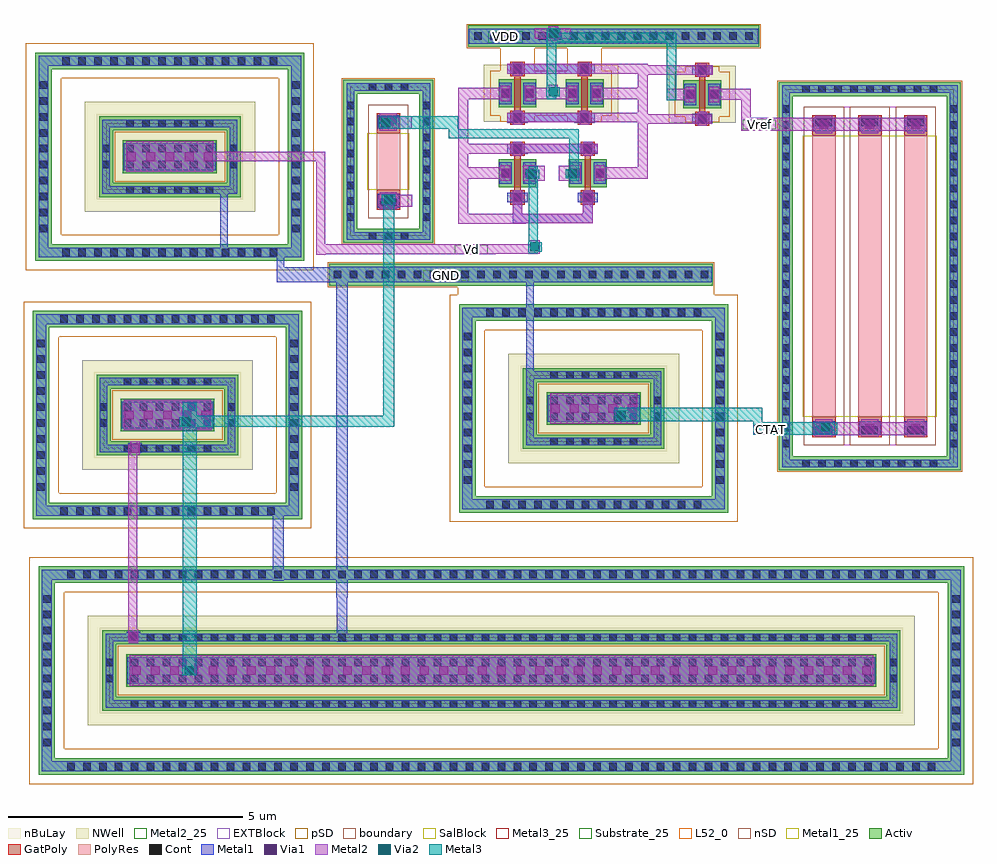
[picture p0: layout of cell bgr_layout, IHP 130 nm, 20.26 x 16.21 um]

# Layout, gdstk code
import gdstk
lib = gdstk.Library(unit=1e-6, precision=1e-09)
def R(c, l, rs):  # rectangles x0, y0, x1, y1
    for r in rs: c.add(gdstk.rectangle(r[:2], r[2:], *l))
def A(c, l, x, y, w, h, nx, ny, dx, dy):  # array of equal rectangles
    R(c, l, [(x+i*dx, y+j*dy, x+i*dx+w, y+j*dy+h) for i in range(nx) for j in range(ny)])
Activ = (1, 0)
GatPoly = (5, 0)
Cont = (6, 0)
nSD = (7, 0)
Metal1 = (8, 0)
Metal1_25 = (8, 25)
Metal2 = (10, 0)
Metal2_25 = (10, 25)
pSD = (14, 0)
Via1 = (19, 0)
SalBlock = (28, 0)
Via2 = (29, 0)
Metal3 = (30, 0)
Metal3_25 = (30, 25)
NWell = (31, 0)
nBuLay = (32, 0)
Substrate_25 = (40, 25)
L52_0 = (52, 0)
EXTBlock = (111, 0)
PolyRes = (128, 0)
boundary = (189, 4)

via_y6za6n = lib.new_cell('via_Y6ZA6N')
R(via_y6za6n, Metal2, [(-0.1,-0.145,0.1,0.145)])
R(via_y6za6n, Via2, [(-0.095,-0.095,0.095,0.095)])
R(via_y6za6n, Metal3, [(-0.145,-0.1,0.145,0.1)])

via_y6z82n = lib.new_cell('via_Y6Z82N')
R(via_y6z82n, Metal1, [(-0.145,-0.105,0.145,0.105)])
R(via_y6z82n, Metal2, [(-0.1,-0.145,0.1,0.145)])
R(via_y6z82n, Via1, [(-0.095,-0.095,0.095,0.095)])

pnpmpa_4j6f6n = lib.new_cell('pnpMPA_4J6F6N')
R(pnpmpa_4j6f6n, Activ, [(-2.87,-2.22,2.87,-1.87), (-2.87,-1.87,-2.52,1.87), (2.52,-1.87,2.87,1.87), (-1.51,-0.86,1.51,-0.56), (-1.51,-0.56,-1.21,0.56), (1.21,-0.56,1.51,0.56), (-1,-0.35,1,0.35), (-1.51,0.56,1.51,0.86), (-2.87,1.87,2.87,2.22)])
A(pnpmpa_4j6f6n, Cont, -2.29, -2.125, 0.16, 0.16, 14, 2, 0.34, 4.09)
A(pnpmpa_4j6f6n, Cont, -2.775, -1.61, 0.16, 0.16, 1, 10, 0, 0.34)
A(pnpmpa_4j6f6n, Cont, 2.615, -1.61, 0.16, 0.16, 1, 10, 0, 0.34)
A(pnpmpa_4j6f6n, Cont, -0.93, -0.79, 0.16, 0.16, 6, 2, 0.34, 0.54)
A(pnpmpa_4j6f6n, Cont, -0.93, 0.09, 0.16, 0.16, 6, 2, 0.34, 0.54)
R(pnpmpa_4j6f6n, Cont, [(-1.44,-0.25,-1.28,-0.09), (1.28,-0.25,1.44,-0.09), (-1.44,0.09,-1.28,0.25), (1.28,0.09,1.44,0.25)])
R(pnpmpa_4j6f6n, Metal1, [(-2.8,-2.15,2.8,-1.94), (-2.8,-1.94,-2.59,1.94), (2.59,-1.94,2.8,1.94), (-1.44,-0.79,1.44,-0.63), (-1.44,-0.63,-1.28,0.63), (1.28,-0.63,1.44,0.63), (-0.98,-0.285,0.98,0.285), (-1.44,0.63,1.44,0.79), (-2.8,1.94,2.8,2.15)])
R(pnpmpa_4j6f6n, Metal2, [(-0.93,-0.325,0.93,0.325)])
R(pnpmpa_4j6f6n, pSD, [(-3.07,-2.42,3.07,-1.67), (-2.9,-2.25,2.9,-1.84), (-2.9,-1.84,-2.49,1.84), (2.49,-1.84,2.9,1.84), (-3.07,-1.67,-2.32,1.67), (2.32,-1.67,3.07,1.67), (-1.18,-0.53,1.18,0.53), (-3.07,1.67,3.07,2.42), (-2.9,1.84,2.9,2.25)])
A(pnpmpa_4j6f6n, Via1, -0.915, -0.095, 0.19, 0.19, 5, 1, 0.41, 0)
R(pnpmpa_4j6f6n, NWell, [(-1.82,-1.17,1.82,1.17)])
R(pnpmpa_4j6f6n, nBuLay, [(-1.56,-0.91,1.56,0.91)])
R(pnpmpa_4j6f6n, boundary, [(-1.36,-0.71,1.36,0.71)])
pnpmpa_4j6f6n.add(gdstk.Label('C', (0,-2.045), layer=8, texttype=25))
pnpmpa_4j6f6n.add(gdstk.Label('B', (0,-0.71), layer=8, texttype=25))
pnpmpa_4j6f6n.add(gdstk.Label('E', (0,0), layer=8, texttype=25))

pnpmpa_ddwec4 = lib.new_cell('pnpMPA_DDWEC4')
R(pnpmpa_ddwec4, Activ, [(-9.87,-2.22,9.87,-1.87), (-9.87,-1.87,-9.52,1.87), (9.52,-1.87,9.87,1.87), (-8.51,-0.86,8.51,-0.56), (-8.51,-0.56,-8.21,0.56), (8.21,-0.56,8.51,0.56), (-8,-0.35,8,0.35), (-8.51,0.56,8.51,0.86), (-9.87,1.87,9.87,2.22)])
A(pnpmpa_ddwec4, Cont, -9.26, -2.125, 0.16, 0.16, 55, 2, 0.34, 4.09)
A(pnpmpa_ddwec4, Cont, -9.775, -1.61, 0.16, 0.16, 1, 10, 0, 0.34)
A(pnpmpa_ddwec4, Cont, 9.615, -1.61, 0.16, 0.16, 1, 10, 0, 0.34)
A(pnpmpa_ddwec4, Cont, -7.9, -0.79, 0.16, 0.16, 47, 2, 0.34, 0.54)
A(pnpmpa_ddwec4, Cont, -7.9, 0.09, 0.16, 0.16, 47, 2, 0.34, 0.54)
R(pnpmpa_ddwec4, Cont, [(-8.44,-0.25,-8.28,-0.09), (8.28,-0.25,8.44,-0.09), (-8.44,0.09,-8.28,0.25), (8.28,0.09,8.44,0.25)])
R(pnpmpa_ddwec4, Metal1, [(-9.8,-2.15,9.8,-1.94), (-9.8,-1.94,-9.59,1.94), (9.59,-1.94,9.8,1.94), (-8.44,-0.79,8.44,-0.63), (-8.44,-0.63,-8.28,0.63), (8.28,-0.63,8.44,0.63), (-7.98,-0.285,7.98,0.285), (-8.44,0.63,8.44,0.79), (-9.8,1.94,9.8,2.15)])
R(pnpmpa_ddwec4, Metal2, [(-7.93,-0.325,7.93,0.325)])
R(pnpmpa_ddwec4, pSD, [(-10.07,-2.42,10.07,-1.67), (-9.9,-2.25,9.9,-1.84), (-9.9,-1.84,-9.49,1.84), (9.49,-1.84,9.9,1.84), (-10.07,-1.67,-9.32,1.67), (9.32,-1.67,10.07,1.67), (-8.18,-0.53,8.18,0.53), (-10.07,1.67,10.07,2.42), (-9.9,1.84,9.9,2.25)])
A(pnpmpa_ddwec4, Via1, -7.885, -0.095, 0.19, 0.19, 39, 1, 0.41, 0)
R(pnpmpa_ddwec4, NWell, [(-8.82,-1.17,8.82,1.17)])
R(pnpmpa_ddwec4, nBuLay, [(-8.56,-0.91,8.56,0.91)])
R(pnpmpa_ddwec4, boundary, [(-8.36,-0.71,8.36,0.71)])
pnpmpa_ddwec4.add(gdstk.Label('C', (0,-2.045), layer=8, texttype=25))
pnpmpa_ddwec4.add(gdstk.Label('B', (0,-0.71), layer=8, texttype=25))
pnpmpa_ddwec4.add(gdstk.Label('E', (0,0), layer=8, texttype=25))

pnpmpa_4j6f6e = lib.new_cell('pnpMPA_4J6F6E')
R(pnpmpa_4j6f6e, Activ, [(-2.87,-2.22,2.87,-1.87), (-2.87,-1.87,-2.52,1.87), (2.52,-1.87,2.87,1.87), (-1.51,-0.86,1.51,-0.56), (-1.51,-0.56,-1.21,0.56), (1.21,-0.56,1.51,0.56), (-1,-0.35,1,0.35), (-1.51,0.56,1.51,0.86), (-2.87,1.87,2.87,2.22)])
A(pnpmpa_4j6f6e, Cont, -2.29, -2.125, 0.16, 0.16, 14, 2, 0.34, 4.09)
A(pnpmpa_4j6f6e, Cont, -2.775, -1.61, 0.16, 0.16, 1, 10, 0, 0.34)
A(pnpmpa_4j6f6e, Cont, 2.615, -1.61, 0.16, 0.16, 1, 10, 0, 0.34)
A(pnpmpa_4j6f6e, Cont, -0.93, -0.79, 0.16, 0.16, 6, 2, 0.34, 0.54)
A(pnpmpa_4j6f6e, Cont, -0.93, 0.09, 0.16, 0.16, 6, 2, 0.34, 0.54)
R(pnpmpa_4j6f6e, Cont, [(-1.44,-0.25,-1.28,-0.09), (1.28,-0.25,1.44,-0.09), (-1.44,0.09,-1.28,0.25), (1.28,0.09,1.44,0.25)])
R(pnpmpa_4j6f6e, Metal1, [(-2.8,-2.15,2.8,-1.94), (-2.8,-1.94,-2.59,1.94), (2.59,-1.94,2.8,1.94), (-1.44,-0.79,1.44,-0.63), (-1.44,-0.63,-1.28,0.63), (1.28,-0.63,1.44,0.63), (-0.98,-0.285,0.98,0.285), (-1.44,0.63,1.44,0.79), (-2.8,1.94,2.8,2.15)])
R(pnpmpa_4j6f6e, Metal2, [(-0.93,-0.325,0.93,0.325)])
R(pnpmpa_4j6f6e, pSD, [(-3.07,-2.42,3.07,-1.67), (-2.9,-2.25,2.9,-1.84), (-2.9,-1.84,-2.49,1.84), (2.49,-1.84,2.9,1.84), (-3.07,-1.67,-2.32,1.67), (2.32,-1.67,3.07,1.67), (-1.18,-0.53,1.18,0.53), (-3.07,1.67,3.07,2.42), (-2.9,1.84,2.9,2.25)])
A(pnpmpa_4j6f6e, Via1, -0.915, -0.095, 0.19, 0.19, 5, 1, 0.41, 0)
R(pnpmpa_4j6f6e, NWell, [(-1.82,-1.17,1.82,1.17)])
R(pnpmpa_4j6f6e, nBuLay, [(-1.56,-0.91,1.56,0.91)])
R(pnpmpa_4j6f6e, boundary, [(-1.36,-0.71,1.36,0.71)])
pnpmpa_4j6f6e.add(gdstk.Label('C', (0,-2.045), layer=8, texttype=25))
pnpmpa_4j6f6e.add(gdstk.Label('B', (0,-0.71), layer=8, texttype=25))
pnpmpa_4j6f6e.add(gdstk.Label('E', (0,0), layer=8, texttype=25))

rhigh_ckkhr5 = lib.new_cell('rhigh_CKKHR5')
R(rhigh_ckkhr5, Activ, [(-0.96,-1.74,0.96,-1.44), (-0.96,-1.44,-0.66,1.44), (0.66,-1.44,0.96,1.44), (-0.96,1.44,0.96,1.74)])
R(rhigh_ckkhr5, GatPoly, [(-0.25,-1.03,0.25,-0.6), (-0.25,0.6,0.25,1.03)])
A(rhigh_ckkhr5, Cont, -0.42, -1.67, 0.16, 0.16, 3, 2, 0.34, 3.18)
A(rhigh_ckkhr5, Cont, -0.89, -1.27, 0.16, 0.16, 1, 8, 0, 0.34)
A(rhigh_ckkhr5, Cont, 0.73, -1.27, 0.16, 0.16, 1, 8, 0, 0.34)
R(rhigh_ckkhr5, Cont, [(-0.18,-0.96,0.18,-0.8), (-0.18,0.8,0.18,0.96)])
R(rhigh_ckkhr5, nSD, [(-0.43,-1.21,0.43,1.21)])
R(rhigh_ckkhr5, Metal1, [(-0.89,-1.67,0.89,-1.51), (-0.89,-1.51,-0.73,1.51), (0.73,-1.51,0.89,1.51), (-0.23,-0.985,0.23,-0.695), (-0.23,0.695,0.23,0.985), (-0.89,1.51,0.89,1.67)])
R(rhigh_ckkhr5, Metal2, [(-0.18,-1.025,0.18,-0.655), (-0.18,0.655,0.18,1.025)])
R(rhigh_ckkhr5, pSD, [(-0.99,-1.77,0.99,1.77)])
R(rhigh_ckkhr5, Via1, [(-0.095,-0.935,0.095,-0.745), (-0.095,0.745,0.095,0.935)])
R(rhigh_ckkhr5, SalBlock, [(-0.45,-0.6,0.45,0.6)])
R(rhigh_ckkhr5, L52_0, [(-0.25,-0.6,0.25,0.6)])
R(rhigh_ckkhr5, EXTBlock, [(-0.43,-1.21,0.43,1.21)])
R(rhigh_ckkhr5, PolyRes, [(-0.25,-0.6,0.25,0.6)])
R(rhigh_ckkhr5, boundary, [(-0.81,-1.59,0.81,1.59)])
rhigh_ckkhr5.add(gdstk.Label('B', (0,-1.59), layer=8, texttype=25))
rhigh_ckkhr5.add(gdstk.Label('R1', (0,0.88), layer=8, texttype=25))
rhigh_ckkhr5.add(gdstk.Label('R2', (0,-0.88), layer=8, texttype=25))

sg13_lv_pmos_pmrch7 = lib.new_cell('sg13_lv_pmos_PMRCH7')
R(sg13_lv_pmos_pmrch7, Activ, [(-0.405,-0.3,0.405,0.3)])
R(sg13_lv_pmos_pmrch7, GatPoly, [(-0.15,-0.67,0.15,-0.37), (-0.065,-0.37,0.065,0.37), (-0.15,0.37,0.15,0.67)])
R(sg13_lv_pmos_pmrch7, Cont, [(-0.08,-0.6,0.08,-0.44), (-0.335,-0.08,-0.175,0.08), (0.175,-0.08,0.335,0.08), (-0.08,0.44,0.08,0.6)])
R(sg13_lv_pmos_pmrch7, Metal1, [(-0.215,-0.625,0.215,-0.415), (-0.385,-0.23,-0.125,0.23), (0.125,-0.23,0.385,0.23), (-0.215,0.415,0.215,0.625)])
R(sg13_lv_pmos_pmrch7, Metal2, [(-0.1,-0.665,0.1,-0.375), (-0.355,-0.165,-0.155,0.165), (0.155,-0.165,0.355,0.165), (-0.1,0.375,0.1,0.665)])
R(sg13_lv_pmos_pmrch7, pSD, [(-0.365,-0.6,0.365,-0.48), (-0.585,-0.48,0.585,0.48), (-0.365,0.48,0.365,0.6)])
R(sg13_lv_pmos_pmrch7, Via1, [(-0.095,-0.615,0.095,-0.425), (-0.35,-0.095,-0.16,0.095), (0.16,-0.095,0.35,0.095), (-0.095,0.425,0.095,0.615)])
R(sg13_lv_pmos_pmrch7, NWell, [(-0.715,-0.61,0.715,0.61)])
sg13_lv_pmos_pmrch7.add(gdstk.Label('D', (-0.255,0), layer=8, texttype=25))
sg13_lv_pmos_pmrch7.add(gdstk.Label('S', (0.255,0), layer=8, texttype=25))
sg13_lv_pmos_pmrch7.add(gdstk.Label('G', (0,0.52), layer=8, texttype=25))

sg13_lv_nmos_mmrjhe = lib.new_cell('sg13_lv_nmos_MMRJHE')
R(sg13_lv_nmos_mmrjhe, Activ, [(-0.405,-0.3,0.405,0.3)])
R(sg13_lv_nmos_mmrjhe, GatPoly, [(-0.15,-0.67,0.15,-0.37), (-0.065,-0.37,0.065,0.37), (-0.15,0.37,0.15,0.67)])
R(sg13_lv_nmos_mmrjhe, Cont, [(-0.08,-0.6,0.08,-0.44), (-0.335,-0.08,-0.175,0.08), (0.175,-0.08,0.335,0.08), (-0.08,0.44,0.08,0.6)])
R(sg13_lv_nmos_mmrjhe, Metal1, [(-0.215,-0.625,0.215,-0.415), (-0.385,-0.23,-0.125,0.23), (0.125,-0.23,0.385,0.23), (-0.215,0.415,0.215,0.625)])
R(sg13_lv_nmos_mmrjhe, Metal2, [(-0.1,-0.665,0.1,-0.375), (-0.355,-0.165,-0.155,0.165), (0.155,-0.165,0.355,0.165), (-0.1,0.375,0.1,0.665)])
R(sg13_lv_nmos_mmrjhe, Via1, [(-0.095,-0.615,0.095,-0.425), (-0.35,-0.095,-0.16,0.095), (0.16,-0.095,0.35,0.095), (-0.095,0.425,0.095,0.615)])
sg13_lv_nmos_mmrjhe.add(gdstk.Label('D', (-0.255,0), layer=8, texttype=25))
sg13_lv_nmos_mmrjhe.add(gdstk.Label('S', (0.255,0), layer=8, texttype=25))
sg13_lv_nmos_mmrjhe.add(gdstk.Label('G', (0,0.52), layer=8, texttype=25))

rhigh_9q2nme = lib.new_cell('rhigh_9Q2NME')
R(rhigh_9q2nme, Activ, [(-1.94,-4.14,1.94,-3.84), (-1.94,-3.84,-1.64,3.84), (1.64,-3.84,1.94,3.84), (-1.94,3.84,1.94,4.14)])
A(rhigh_9q2nme, GatPoly, -1.23, -3.43, 0.5, 0.43, 3, 2, 0.98, 6.43)
A(rhigh_9q2nme, Cont, -1.44, -4.07, 0.16, 0.16, 9, 2, 0.34, 7.98)
A(rhigh_9q2nme, Cont, -1.87, -3.65, 0.16, 0.16, 1, 22, 0, 0.34)
A(rhigh_9q2nme, Cont, 1.71, -3.65, 0.16, 0.16, 1, 22, 0, 0.34)
A(rhigh_9q2nme, Cont, -1.16, -3.36, 0.36, 0.16, 3, 2, 0.98, 6.56)
A(rhigh_9q2nme, nSD, -1.41, -3.61, 0.86, 7.22, 3, 1, 0.98, 0)
A(rhigh_9q2nme, Metal1, -1.21, -3.385, 0.46, 0.29, 3, 2, 0.98, 6.48)
R(rhigh_9q2nme, Metal1, [(-1.87,-4.07,1.87,-3.91), (-1.87,-3.91,-1.71,3.91), (1.71,-3.91,1.87,3.91), (-1.87,3.91,1.87,4.07)])
A(rhigh_9q2nme, Metal2, -1.16, -3.425, 0.36, 0.37, 3, 2, 0.98, 6.48)
R(rhigh_9q2nme, pSD, [(-1.97,-4.17,1.97,4.17)])
A(rhigh_9q2nme, Via1, -1.075, -3.335, 0.19, 0.19, 3, 2, 0.98, 6.48)
R(rhigh_9q2nme, SalBlock, [(-1.43,-3,1.43,3)])
A(rhigh_9q2nme, L52_0, -1.23, -3, 0.5, 6, 3, 1, 0.98, 0)
R(rhigh_9q2nme, EXTBlock, [(-1.41,-3.61,1.41,3.61)])
A(rhigh_9q2nme, PolyRes, -1.23, -3, 0.5, 6, 3, 1, 0.98, 0)
R(rhigh_9q2nme, boundary, [(-1.79,-3.99,1.79,3.99)])
rhigh_9q2nme.add(gdstk.Label('B', (0,-3.99), layer=8, texttype=25))
rhigh_9q2nme.add(gdstk.Label('R1_0', (-0.98,3.28), layer=8, texttype=25))
rhigh_9q2nme.add(gdstk.Label('R2_0', (-0.98,-3.28), layer=8, texttype=25))
rhigh_9q2nme.add(gdstk.Label('R1_1', (0,3.28), layer=8, texttype=25))
rhigh_9q2nme.add(gdstk.Label('R2_1', (0,-3.28), layer=8, texttype=25))
rhigh_9q2nme.add(gdstk.Label('R1_2', (0.98,3.28), layer=8, texttype=25))
rhigh_9q2nme.add(gdstk.Label('R2_2', (0.98,-3.28), layer=8, texttype=25))

bgr_layout = lib.new_cell('bgr_layout')
R(bgr_layout, Activ, [(-4.13,-5.81,4.05,-5.34), (-1.17,-0.72,5.04,-0.26)])
A(bgr_layout, Cont, -4.03, -5.655, 0.16, 0.16, 24, 1, 0.34, 0)
A(bgr_layout, Cont, -1.035, -0.57, 0.16, 0.16, 18, 1, 0.34, 0)
R(bgr_layout, Metal1, [(-3.97,-13.41,-3.75,-12.46), (-3.98,-12.46,-3.74,-5.74), (-5.34,-12.1,-5.1,-10.51), (0.07,-7.95,0.23,-5.74), (-5.25,-5.74,4.03,-5.42), (-5.25,-5.42,-5.09,-5), (-4.11,-5.42,4.03,-5.41), (-6.45,-5.21,-6.29,-3.7), (-0.22,-4.48,1.49,-4.28), (-0.22,-4.28,-0.01,-3.83), (1.28,-4.28,1.49,-3.83), (-0.33,-2.99,1.6,-2.78), (-0.33,-2.33,1.53,-2.12), (-0.33,-1.29,1.53,-1.08), (-1.15,-0.65,5.02,-0.33)])
R(bgr_layout, Metal1_25, [(-2.12,-5.71,-1.14,-5.48)])
R(bgr_layout, Metal2, [(-8.42,-13.4,-8.22,-9.2), (6.2,-9,8.62,-8.72), (-4.41,-5.15,-4.21,-5.14), (-4.41,-5.14,-0.59,-5.13), (-4.41,-5.13,0.33,-4.93), (-4.41,-4.93,-4.21,-3.16), (-1.38,-4.49,0.06,-4.48), (-1.38,-4.48,1.49,-4.28), (-1.38,-4.28,-1.17,-3.53), (-0.22,-4.28,-0.01,-3.83), (1.28,-4.28,1.49,-3.83), (-3.08,-4.13,-2.36,-3.87), (0,-3.57,0.47,-3.25), (0.76,-3.57,1.23,-3.25), (-1.38,-3.53,-0.26,-3.29), (1.54,-3.53,2.66,-3.29), (-1.38,-3.29,-1.17,-3), (2.45,-3.29,2.66,-2.36), (-6.96,-3.16,-4.21,-2.96), (-1.38,-3,0.05,-2.99), (-1.38,-2.99,1.6,-2.78), (-1.38,-2.78,-1.17,-1.83), (4.66,-2.51,8.61,-2.23), (-3.09,-2.46,-2.37,-2.2), (2.45,-2.36,4.03,-2.33), (-0.33,-2.33,4.03,-2.16), (4.66,-2.23,4.86,-1.85), (-0.33,-2.16,2.66,-2.12), (2.45,-2.12,2.66,-1.83), (3.07,-1.86,3.68,-1.61), (3.98,-1.85,4.86,-1.61), (-1.38,-1.83,-0.27,-1.59), (0.04,-1.83,1.16,-1.59), (1.47,-1.83,2.66,-1.59), (2.45,-1.59,2.66,-1.31), (2.45,-1.31,4.05,-1.29), (-0.33,-1.29,4.05,-1.11), (-0.33,-1.11,2.66,-1.08), (0.25,-0.54,1.02,-0.32)])
R(bgr_layout, Metal2_25, [(-1.45,-5.14,-0.75,-4.94), (4.69,-2.47,5.39,-2.27)])
R(bgr_layout, pSD, [(-1.39,-6.18,4.08,-5.84), (-4.16,-5.84,4.08,-5.31), (0.47,-2.19,0.73,-1.23), (-0.48,-1.11,0.25,-0.75), (0.95,-1.11,1.68,-0.75), (-1.2,-0.75,5.07,-0.23)])
R(bgr_layout, Metal3, [(-7.25,-14.12,-6.96,-8.82), (4.91,-8.99,6.71,-8.72), (-7.26,-8.82,-2.74,-8.59), (4.91,-8.72,5.11,-8.7), (1.95,-8.7,5.11,-8.42), (-7.25,-8.59,-6.96,-8.3), (-2.98,-8.59,-2.74,-3.89), (0.12,-5.12,0.32,-3.26), (0.99,-3.57,1.19,-2.67), (-1.58,-2.67,1.19,-2.47), (-1.58,-2.47,-1.38,-2.46), (-3.06,-2.46,-1.38,-2.2), (3.07,-1.86,3.27,-0.62), (0.51,-1.83,0.71,-0.62), (0.51,-0.62,3.27,-0.42), (0.51,-0.42,0.71,-0.41)])
R(bgr_layout, Metal3_25, [(4.93,-8.98,5.63,-8.78)])
R(bgr_layout, Substrate_25, [(-0.74,-0.63,0,-0.38)])
bgr_layout.add(gdstk.Reference(via_y6za6n, (2.095,-8.575)))
bgr_layout.add(gdstk.Reference(via_y6za6n, (6.455,-8.825)))
bgr_layout.add(gdstk.Reference(via_y6z82n, (-8.305,-13.295)))
bgr_layout.add(gdstk.Reference(via_y6z82n, (-8.275,-9.275)))
bgr_layout.add(gdstk.Reference(via_y6za6n, (-7.115,-14.025)))
bgr_layout.add(gdstk.Reference(via_y6za6n, (-7.185,-8.715)))
bgr_layout.add(gdstk.Reference(pnpmpa_4j6f6n, (1.51,-8.43)))
bgr_layout.add(gdstk.Reference(pnpmpa_ddwec4, (-0.46,-14.02)))
bgr_layout.add(gdstk.Reference(pnpmpa_4j6f6e, (-7.53,-3.06)))
bgr_layout.add(gdstk.Reference(rhigh_ckkhr5, (-2.87,-3.16)))
bgr_layout.add(gdstk.Reference(via_y6za6n, (0.255,-4.985)))
bgr_layout.add(gdstk.Reference(via_y6za6n, (-2.865,-3.975)))
bgr_layout.add(gdstk.Reference(via_y6za6n, (-2.925,-2.335)))
bgr_layout.add(gdstk.Reference(sg13_lv_pmos_pmrch7, (-0.115,-1.71)))
bgr_layout.add(gdstk.Reference(sg13_lv_nmos_mmrjhe, (-0.115,-3.41)))
bgr_layout.add(gdstk.Reference(via_y6za6n, (0.645,-1.675)))
bgr_layout.add(gdstk.Reference(via_y6za6n, (0.205,-3.435)))
bgr_layout.add(gdstk.Reference(sg13_lv_pmos_pmrch7, (1.315,-1.71)))
bgr_layout.add(gdstk.Reference(sg13_lv_nmos_mmrjhe, (1.385,-3.41)))
bgr_layout.add(gdstk.Reference(via_y6za6n, (1.055,-3.425)))
bgr_layout.add(gdstk.Reference(via_y6za6n, (0.655,-0.425)))
bgr_layout.add(gdstk.Reference(via_y6z82n, (0.645,-0.445)))
bgr_layout.add(gdstk.Reference(sg13_lv_pmos_pmrch7, (3.825,-1.73)))
bgr_layout.add(gdstk.Reference(rhigh_9q2nme, (7.4,-5.61)))
bgr_layout.add(gdstk.Reference(pnpmpa_4j6f6n, (-7.58,-8.57)))
bgr_layout.add(gdstk.Label('GND', (-1.63,-5.595), layer=8, texttype=25))
bgr_layout.add(gdstk.Label('VDD', (-0.37,-0.505), layer=40, texttype=25))
bgr_layout.add(gdstk.Label('Vd', (-1.1,-5.04), layer=10, texttype=25))
bgr_layout.add(gdstk.Label('Vref', (5.04,-2.37), layer=10, texttype=25))
bgr_layout.add(gdstk.Label('CTAT', (5.28,-8.88), layer=30, texttype=25))

lib.write_gds('bgr_layout.gds')
